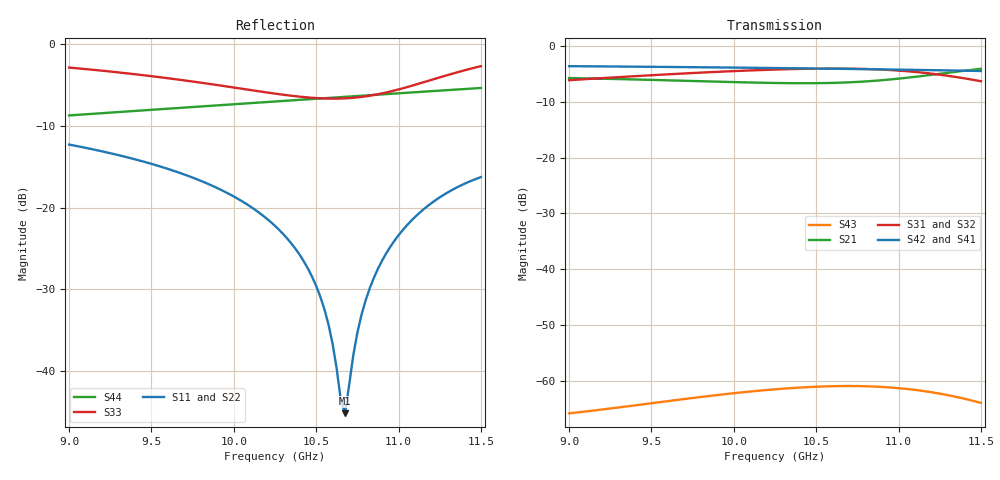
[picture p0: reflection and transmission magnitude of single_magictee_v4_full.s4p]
! Generated from PyAEDT SolutionData; AEDT ExportNetworkData workaround
# GHz S MA R 50
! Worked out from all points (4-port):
!   101 points, 9 GHz to 11.5 GHz, reference 50 ohm
!   strongest paths, dB at 9 GHz, 9.625 GHz, 10.25 GHz, 10.88 GHz, 11.5 GHz:
!     S42: -3.6, -3.8, -4.0, -4.2, -4.5
!     S41: -3.6, -3.8, -4.0, -4.2, -4.5
!     S31: -6.1, -5.1, -4.2, -4.2, -6.3
!     S32: -6.2, -5.1, -4.2, -4.2, -6.3
!     S21: -5.8, -6.2, -6.6, -6.2, -4.1
!     S43: -65.8, -63.5, -61.5, -61.0, -63.9
!   lowest |S11| = -45.2 dB at 10.68 GHz (marker M1), VSWR 1.01, Z = 49.5 - j0.0671 ohm
!   |S11| at or under -10 dB: start of sweep to end of sweep
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9  0.2427 140.2  0.5151 -179.4  0.493 -90.4  0.6579 46.1
   0.5151 -179.4  0.2426 140.3  0.4924 -90.4  0.6583 -133.8
   0.493 -90.4  0.4924 -90.4  0.7173 -168.7  0.0005129 117.7
   0.6579 46.1  0.6583 -133.8  0.0005129 117.7  0.3658 -113.8
9.375  0.2002 93.7  0.5014 139.2  0.533 -156.4  0.6515 3.3
       0.5014 139.2  0.2002 93.8  0.5325 -156.4  0.6519 -176.7
       0.533 -156.4  0.5325 -156.4  0.6575 100.6  0.0005977 50.3
       0.6515 3.3  0.6519 -176.7  0.0005977 50.3  0.3881 -154.2
9.725  0.1558 50.1  0.4861 102.7  0.569 142.0  0.6447 -35.4
       0.4861 102.7  0.1558 50.4  0.5685 142.0  0.6451 144.6
       0.569 142.0  0.5685 142.0  0.5942 13.3  0.0006961 -15.0
       0.6447 -35.4  0.6451 144.6  0.0006961 -15.0  0.4101 169.0
10.125  0.0976 -1.1  0.4693 63.8  0.6048 71.0  0.6359 -78.5
        0.4693 63.8  0.09738 -0.5  0.6043 71.0  0.6364 101.5
        0.6048 71.0  0.6043 71.0  0.5187 -92.0  0.0008104 -93.3
        0.6359 -78.5  0.6364 101.5  0.0008104 -93.3  0.4365 127.5
10.675  0.005523 -172.9  0.4702 16.2  0.6262 -29.3  0.6219 -136.3
        0.4702 16.2  0.004849 176.2  0.6257 -29.3  0.6224 43.7
        0.6262 -29.3  0.6257 -29.3  0.4652 104.9  0.0009 152.3
        0.6219 -136.3  0.6224 43.7  0.0009 152.3  0.4752 71.3
11.075  0.08266 56.1  0.5233 -16.9  0.5892 -104.8  0.6101 -177.6
        0.5233 -16.9  0.08366 55.8  0.5886 -104.9  0.6105 2.4
        0.5892 -104.8  0.5886 -104.9  0.5535 -21.1  0.0008398 64.8
        0.6101 -177.6  0.6105 2.4  0.0008398 64.8  0.5051 30.7
11.5  0.1535 -7.2  0.6236 -57.2  0.4822 175.3  0.5958 138.9
      0.6236 -57.2  0.1542 -7.0  0.4817 175.2  0.5961 -41.1
      0.4822 175.3  0.4817 175.2  0.7318 -141.6  0.000636 -28.0
      0.5958 138.9  0.5961 -41.1  0.000636 -28.0  0.5382 -12.3
